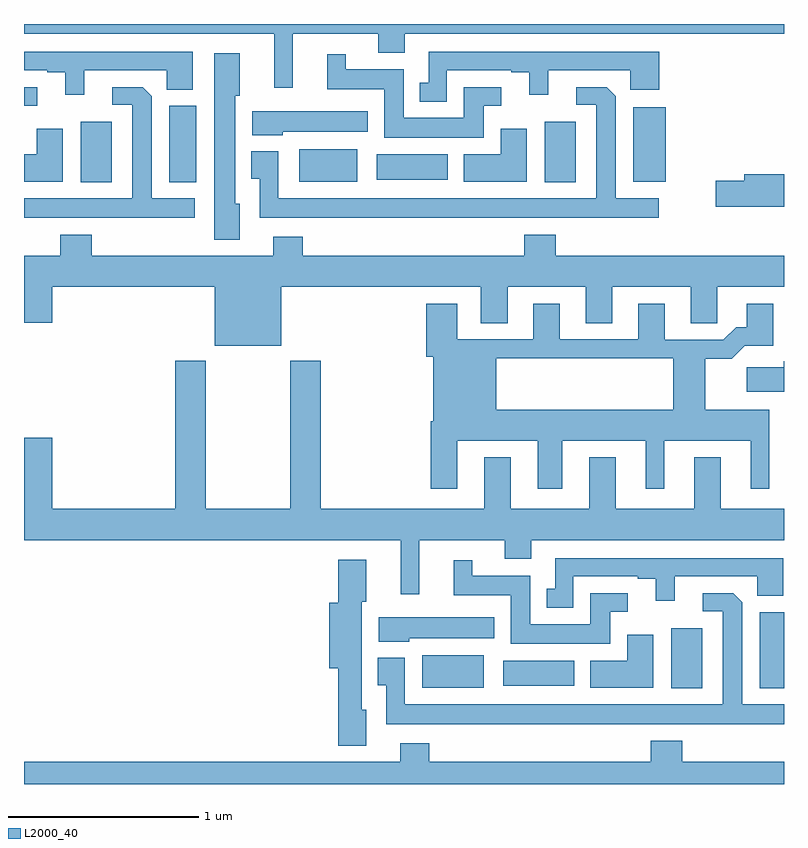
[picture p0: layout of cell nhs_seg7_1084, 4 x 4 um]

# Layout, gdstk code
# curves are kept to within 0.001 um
import gdstk
lib = gdstk.Library(unit=1e-6, precision=1e-09)
def R(c, l, rs):  # rectangles x0, y0, x1, y1
    for r in rs: c.add(gdstk.rectangle(r[:2], r[2:], *l))
def P(c, l, *ps):  # polygons
    for p in ps: c.add(gdstk.Polygon(p, *l))
L2000_40 = (2000, 40)

nhs_seg7_1084 = lib.new_cell('nhs_seg7_1084')
R(nhs_seg7_1084, L2000_40, [(192.407,998.504,192.571,998.821), (192.872,998.504,193,998.905), (191.096,998.507,191.419,998.677), (191.523,998.516,191.896,998.65), (189.299,1001.168,189.463,1001.485), (189.764,1001.168,189.907,1001.569), (191.741,1001.168,191.905,1001.485), (190.448,1001.171,190.753,1001.341), (192.206,1001.171,192.377,1001.563), (190.857,1001.18,191.23,1001.314), (189,1001.571,189.07,1001.667)])
P(nhs_seg7_1084, L2000_40, [(190.415,1001.948),(190.865,1001.948),(190.865,1001.849),(191.005,1001.849),(191.005,1001.948),(193,1001.948),(193,1002),(189,1002),(189,1001.948),(190.316,1001.948),(190.316,1001.664),(190.415,1001.664)],
  [(189.316,1001.757),(189.75,1001.757),(189.75,1001.654),(189.889,1001.654),(189.889,1001.853),(189,1001.853),(189,1001.757),(189.122,1001.757),(189.122,1001.745),(189.218,1001.745),(189.218,1001.628),(189.316,1001.628)],
  [(191.226,1001.757),(191.564,1001.757),(191.564,1001.745),(191.66,1001.745),(191.66,1001.628),(191.758,1001.628),(191.758,1001.757),(192.192,1001.757),(192.192,1001.654),(192.344,1001.654),(192.344,1001.853),(191.13,1001.853),(191.13,1001.691),(191.084,1001.691),(191.084,1001.591),(191.226,1001.591)],
  [(190.135,1001.055),(190.111,1001.055),(190.111,1001.622),(190.135,1001.622),(190.135,1001.845),(190.001,1001.845),(190.001,1000.865),(190.135,1000.865)],
  [(191.419,1001.571),(191.512,1001.571),(191.512,1001.667),(191.315,1001.667),(191.315,1001.506),(190.999,1001.506),(190.999,1001.761),(190.693,1001.761),(190.693,1001.842),(190.595,1001.842),(190.595,1001.657),(190.895,1001.657),(190.895,1001.402),(191.419,1001.402)],
  [(192.34,1001.083),(192.115,1001.083),(192.114,1001.621),(192.068,1001.667),(191.907,1001.667),(191.907,1001.574),(192.011,1001.574),(192.011,1001.083),(190.338,1001.083),(190.338,1001.329),(190.196,1001.329),(190.196,1001.185),(190.241,1001.185),(190.241,1000.979),(192.34,1000.979)],
  [(189.898,1001.083),(189.673,1001.083),(189.672,1001.621),(189.626,1001.667),(189.465,1001.667),(189.465,1001.574),(189.569,1001.574),(189.569,1001.083),(189,1001.083),(189,1000.979),(189.898,1000.979)],
  [(190.362,1001.432),(190.81,1001.432),(190.81,1001.542),(190.2,1001.542),(190.2,1001.414),(190.362,1001.414)],
  [(189.205,1001.449),(189.068,1001.449),(189.068,1001.314),(189,1001.314),(189,1001.171),(189.205,1001.171)],
  [(191.647,1001.449),(191.51,1001.449),(191.51,1001.314),(191.315,1001.314),(191.315,1001.171),(191.647,1001.171)],
  [(193,1001.21),(192.791,1001.21),(192.791,1001.174),(192.642,1001.174),(192.642,1001.039),(193,1001.039)],
  [(190.354,1000.616),(191.405,1000.616),(191.405,1000.426),(191.545,1000.426),(191.545,1000.616),(191.957,1000.616),(191.957,1000.426),(192.097,1000.426),(192.097,1000.616),(192.509,1000.616),(192.509,1000.426),(192.648,1000.426),(192.648,1000.616),(193,1000.616),(193,1000.78),(191.798,1000.78),(191.798,1000.891),(191.633,1000.891),(191.633,1000.78),(190.466,1000.78),(190.466,1000.879),(190.313,1000.879),(190.313,1000.78),(189.356,1000.78),(189.356,1000.891),(189.191,1000.891),(189.191,1000.78),(189,1000.78),(189,1000.428),(189.148,1000.428),(189.148,1000.616),(190.004,1000.616),(190.004,1000.307),(190.354,1000.307)],
  [(191.141,999.91),(191.141,999.555),(191.281,999.555),(191.281,999.806),(191.705,999.806),(191.705,999.555),(191.833,999.555),(191.833,999.806),(192.272,999.806),(192.272,999.555),(192.37,999.555),(192.37,999.806),(192.824,999.806),(192.824,999.555),(192.922,999.555),(192.922,999.97),(192.586,999.97),(192.586,1000.238),(192.725,1000.238),(192.794,1000.307),(192.943,1000.307),(192.943,1000.528),(192.803,1000.528),(192.803,1000.405),(192.748,1000.405),(192.681,1000.338),(192.373,1000.338),(192.373,1000.528),(192.233,1000.528),(192.233,1000.341),(191.821,1000.341),(191.821,1000.528),(191.681,1000.528),(191.681,1000.341),(191.281,1000.341),(191.281,1000.528),(191.117,1000.528),(191.117,1000.248),(191.153,1000.248),(191.153,999.97),(191.485,999.97),(191.485,1000.24),(192.416,1000.24),(192.416,999.97),(191.153,999.97),(191.153,999.91)],
  [(191.081,999.284),(191.531,999.284),(191.531,999.185),(191.671,999.185),(191.671,999.284),(193,999.284),(193,999.448),(192.667,999.448),(192.667,999.721),(192.527,999.721),(192.527,999.448),(192.115,999.448),(192.115,999.721),(191.975,999.721),(191.975,999.448),(191.563,999.448),(191.563,999.721),(191.423,999.721),(191.423,999.448),(190.562,999.448),(190.562,1000.228),(190.402,1000.228),(190.402,999.448),(189.957,999.448),(189.957,1000.228),(189.797,1000.228),(189.797,999.448),(189.148,999.448),(189.148,999.823),(189,999.823),(189,999.284),(190.982,999.284),(190.982,999),(191.081,999)],
  [(193,1000.225),(192.998,1000.225),(192.998,1000.193),(192.804,1000.193),(192.804,1000.064),(193,1000.064)],
  [(191.892,999.093),(192.23,999.093),(192.23,999.081),(192.326,999.081),(192.326,998.964),(192.424,998.964),(192.424,999.093),(192.858,999.093),(192.858,998.99),(192.997,998.99),(192.997,999.189),(191.796,999.189),(191.796,999.027),(191.75,999.027),(191.75,998.927),(191.892,998.927)],
  [(190.801,998.391),(190.777,998.391),(190.777,998.958),(190.801,998.958),(190.801,999.181),(190.655,999.181),(190.655,998.953),(190.607,998.953),(190.607,998.609),(190.655,998.609),(190.655,998.201),(190.801,998.201)],
  [(192.085,998.907),(192.178,998.907),(192.178,999.003),(191.981,999.003),(191.981,998.842),(191.665,998.842),(191.665,999.097),(191.359,999.097),(191.359,999.178),(191.261,999.178),(191.261,998.993),(191.561,998.993),(191.561,998.738),(192.085,998.738)],
  [(193,998.419),(192.781,998.419),(192.78,998.957),(192.734,999.003),(192.573,999.003),(192.573,998.91),(192.677,998.91),(192.677,998.419),(191.004,998.419),(191.004,998.665),(190.862,998.665),(190.862,998.521),(190.907,998.521),(190.907,998.315),(193,998.315)],
  [(191.028,998.768),(191.476,998.768),(191.476,998.878),(190.866,998.878),(190.866,998.75),(191.028,998.75)],
  [(192.313,998.785),(192.176,998.785),(192.176,998.65),(191.981,998.65),(191.981,998.507),(192.313,998.507)],
  [(193,998.116),(192.464,998.116),(192.464,998.227),(192.299,998.227),(192.299,998.116),(191.132,998.116),(191.132,998.215),(190.979,998.215),(190.979,998.116),(189,998.116),(189,998),(193,998)])

lib.write_gds('nhs_seg7_1084.gds')
